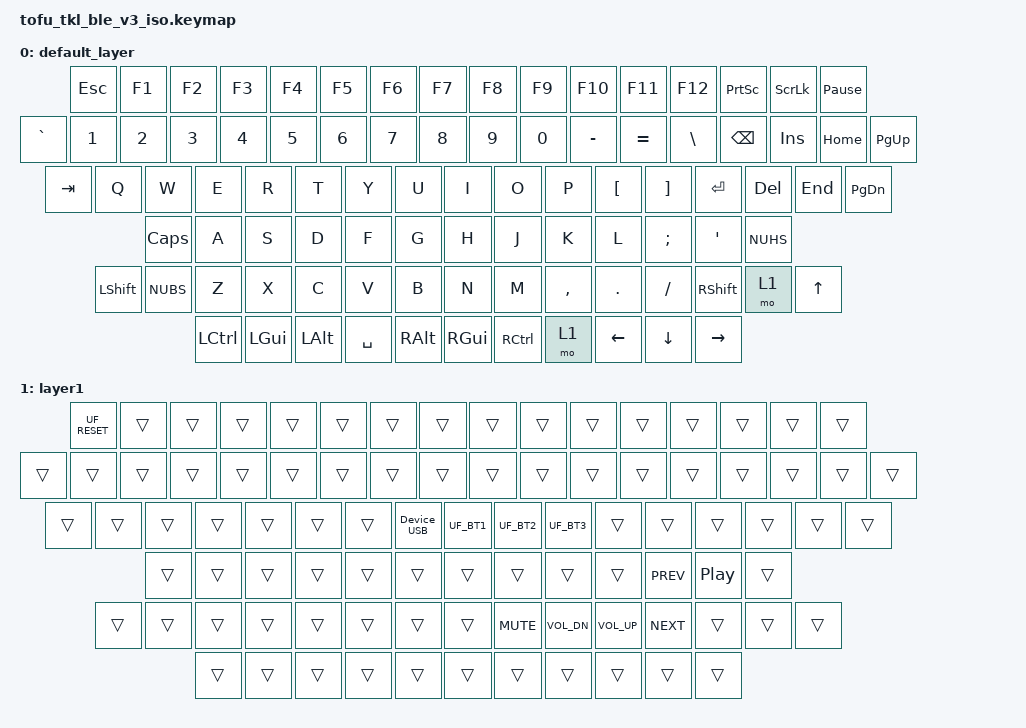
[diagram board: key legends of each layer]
#include "common.keymap"

#define UF_RESET bootloader_reset 0 0
#define UF_BT1 device_bt1 0 0
#define UF_BT2 device_bt2 0 1
#define UF_BT3 device_bt3 0 2

/ {
    keymap {
        compatible = "zmk,keymap";
        
        default_layer {

            bindings = <
    &kp ESC           &kp F1 &kp F2 &kp F3 &kp F4     &kp F5 &kp F6 &kp F7 &kp F8     &kp F9 &kp F10 &kp F11 &kp F12             &kp PSCRN &kp SLCK &kp PAUSE_BREAK
    &kp GRAVE  &kp N1 &kp N2 &kp N3 &kp N4 &kp N5 &kp N6 &kp N7 &kp N8 &kp N9 &kp N0 &kp MINUS &kp EQUAL &kp BSLH &kp BSPC       &kp INS   &kp HOME &kp PG_UP
    &kp TAB    &kp Q  &kp W  &kp E  &kp R  &kp T  &kp Y  &kp U  &kp I  &kp O  &kp P  &kp LBKT  &kp RBKT  &kp RET                &kp DEL   &kp END  &kp PG_DN
    &kp CLCK    &kp A  &kp S  &kp D  &kp F  &kp G  &kp H  &kp J  &kp K  &kp L  &kp SEMI &kp SQT        &kp NUHS
    &kp LSHFT &kp NUBS  &kp Z  &kp X  &kp C  &kp V  &kp B  &kp N  &kp M  &kp COMMA &kp DOT &kp FSLH      &kp RSHIFT  &mo 1                    &kp UP
    &kp LCTRL &kp LGUI &kp LALT             &kp SPACE                       &kp RALT  &kp RGUI &kp RCTRL  &mo 1                 &kp LEFT  &kp DOWN &kp RIGHT
            >;
        };

        layer1 {
            bindings = <
    &UF_RESET          &trans  &trans  &trans  &trans   &trans  &trans  &trans  &trans      &trans  &trans  &trans  &trans                  &trans   &trans   &trans
    &trans  &trans  &trans  &trans  &trans  &trans  &trans  &trans  &trans  &trans  &trans  &trans  &trans  &trans  &trans               &trans   &trans   &trans
    &trans   &trans  &trans  &trans  &trans  &trans  &trans  &Device_USB  &UF_BT1  &UF_BT2  &UF_BT3  &trans  &trans   &trans             &trans   &trans   &trans
    &trans    &trans  &trans  &trans  &trans  &trans  &trans  &trans  &trans   &trans   &kp C_PREV  &kp C_PP      &trans 
    &trans &trans  &trans    &trans    &trans   &trans  &trans  &trans  &kp C_MUTE  &kp C_VOL_DN  &kp C_VOL_UP  &kp C_NEXT  &trans  &trans             &trans
    &trans  &trans   &trans                 &trans                       &trans     &trans      &trans   &trans                           &trans  &trans  &trans
             >;
        };
        layer2 { status = "reserved"; };
        layer3 { status = "reserved"; };
        layer4 { status = "reserved"; };
        layer5 { status = "reserved"; };
        layer6 { status = "reserved"; };
        layer7 { status = "reserved"; };
    };
};
